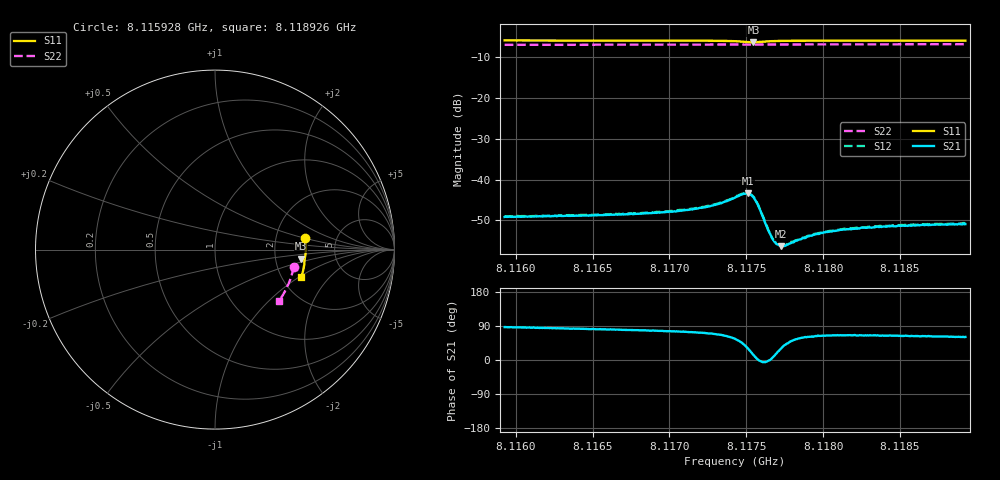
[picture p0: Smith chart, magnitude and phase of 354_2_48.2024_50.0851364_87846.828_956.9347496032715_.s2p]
#  HZ  S  RI  R  50.00
! Rohde & Schwarz Vector Network Analyzer
! Rohde-Schwarz,ZNB20-2Port,1311601062101988,3.16
! Created: UTC 3/20/2024, 11:51:55 AM
! freq[Hz]  re:S11  im:S11  re:S21  im:S21  re:S12  im:S12  re:S22  im:S22
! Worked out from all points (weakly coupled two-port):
!   401 points, 8.115928 GHz to 8.118926 GHz, reference 50 ohm
!   highest |S21| = -43.43 dB at 8.117509 GHz (marker M1); lowest = -56.4 dB at 8.117727 GHz (marker M2)
!   lowest |S11| = -6.3 dB at 8.117547 GHz (marker M3), VSWR 2.86, Z = 140 - j18.3 ohm
!   |S11| at or under -10 dB: nowhere
!   |S22| runs from -7.0 to -6.8 dB; largest |S21 - S12| = 0.00018
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8.1159277e9  0.5035 0.0635  0.00019 0.00347  0.000235 0.00351  0.4379 -0.0963
8.11643e9  0.5061 0.0259  0.00048 0.00358  0.000545 0.00365  0.4305 -0.1302
8.1169323e9  0.5059 -0.0127  0.000888 0.00383  0.000923 0.0039  0.4203 -0.1637
8.1172096e9  0.5031 -0.0355  0.0014 0.00426  0.00149 0.00432  0.4135 -0.182
8.1173221e9  0.5005 -0.0459  0.00196 0.00464  0.00203 0.00468  0.4105 -0.1894
8.117427e9  0.4938 -0.0562  0.00338 0.00499  0.00349 0.00501  0.4074 -0.196
8.117472e9  0.4875 -0.0589  0.00461 0.00468  0.00475 0.00468  0.4058 -0.1987
8.1175095e9  0.4813 -0.0572  0.00577 0.00348  0.0059 0.00349  0.4046 -0.2009
8.117532e9  0.479 -0.0534  0.00604 0.00227  0.00613 0.00227  0.404 -0.2022
8.117547e9  0.479 -0.0502  0.00588 0.0014  0.00602 0.00139  0.4037 -0.2029
8.117562e9  0.4804 -0.0476  0.00545 0.000656  0.00555 0.000595  0.403 -0.2037
8.1175845e9  0.4841 -0.0454  0.0045 -0.00011  0.00457 -0.000122  0.4027 -0.205
8.1176369e9  0.4925 -0.0475  0.00255 -0.000164  0.00263 -0.000219  0.4016 -0.2085
8.1176669e9  0.4954 -0.0507  0.00193 0.000158  0.00194 0.000132  0.4008 -0.2103
8.1176969e9  0.4971 -0.0541  0.00154 0.000479  0.00159 0.000478  0.4001 -0.2124
8.1177269e9  0.4981 -0.0575  0.00131 0.000767  0.00135 0.000775  0.3992 -0.2142
8.1177644e9  0.4987 -0.0616  0.00115 0.00108  0.00117 0.0011  0.3981 -0.2168
8.1178019e9  0.499 -0.0653  0.00105 0.00133  0.0011 0.00133  0.3969 -0.219
8.1179293e9  0.4985 -0.077  0.000951 0.00181  0.000969 0.00187  0.3928 -0.2271
8.1181242e9  0.4962 -0.0928  0.00103 0.00219  0.00104 0.00222  0.3862 -0.2392
8.1184316e9  0.4912 -0.1161  0.00115 0.00241  0.00119 0.00244  0.3751 -0.2577
8.1189263e9  0.481 -0.1519  0.00138 0.00247  0.00146 0.00252  0.3556 -0.2864
